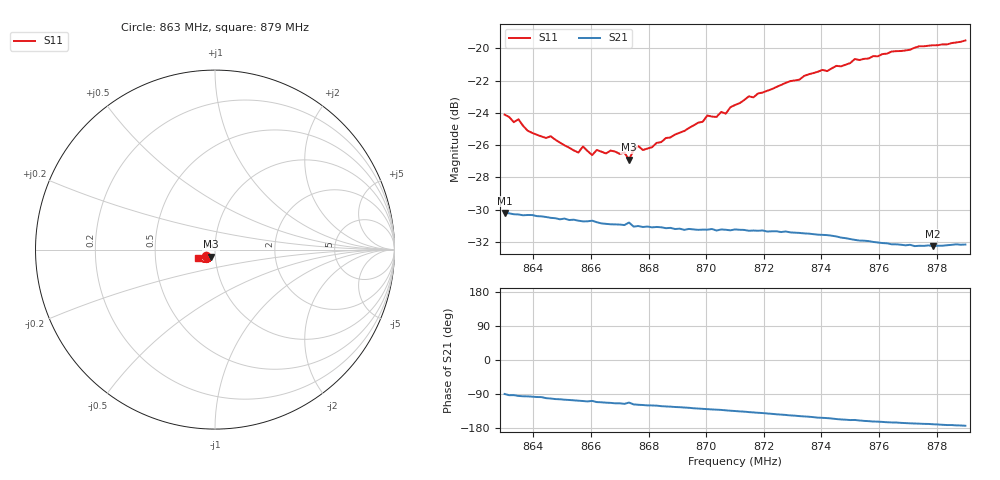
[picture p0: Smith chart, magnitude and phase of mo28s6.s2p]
# HZ S RI R 50
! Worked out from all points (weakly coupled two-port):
!   101 points, 863 MHz to 879 MHz, reference 50 ohm
!   highest |S21| = -30.21 dB at 863 MHz (marker M1); lowest = -32.3 dB at 877.88 MHz (marker M2)
!   lowest |S11| = -26.9 dB at 867.32 MHz (marker M3), VSWR 1.09, Z = 47.7 - j3.73 ohm
!   |S11| at or under -10 dB: start of sweep to end of sweep
!   S12 and S22 are empty: the file has one direction only
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8.63e8  -0.051 -0.0357  0.000184 -0.0309  0 0  0 0
8.6332e8  -0.0485 -0.0335  -0.00143 -0.0305  0 0  0 0
8.6348e8  -0.0507 -0.0325  -0.00258 -0.0304  0 0  0 0
8.638e8  -0.045 -0.0325  -0.00316 -0.0302  0 0  0 0
8.646e8  -0.0417 -0.0332  -0.00604 -0.0292  0 0  0 0
8.6556e8  -0.0339 -0.0333  -0.00871 -0.0279  0 0  0 0
8.6572e8  -0.0343 -0.0358  -0.0091 -0.0276  0 0  0 0
8.6604e8  -0.0305 -0.0353  -0.009 -0.0278  0 0  0 0
8.662e8  -0.0327 -0.0357  -0.0104 -0.027  0 0  0 0
8.6668e8  -0.0304 -0.0373  -0.0112 -0.0262  0 0  0 0
8.6716e8  -0.0272 -0.0389  -0.0123 -0.0255  0 0  0 0
8.6732e8  -0.0225 -0.0391  -0.011 -0.0267  0 0  0 0
8.6764e8  -0.027 -0.0418  -0.0133 -0.0248  0 0  0 0
8.678e8  -0.0261 -0.0407  -0.0134 -0.0245  0 0  0 0
8.6844e8  -0.0237 -0.0454  -0.0147 -0.0237  0 0  0 0
8.7004e8  -0.0252 -0.0565  -0.0175 -0.0211  0 0  0 0
8.7068e8  -0.0254 -0.0573  -0.0186 -0.0201  0 0  0 0
8.71e8  -0.0273 -0.0608  -0.0193 -0.0195  0 0  0 0
8.7372e8  -0.0456 -0.0703  -0.0231 -0.013  0 0  0 0
8.7644e8  -0.0737 -0.0641  -0.0238 -0.00648  0 0  0 0
8.7788e8  -0.0862 -0.0548  -0.0239 -0.00439  0 0  0 0
8.79e8  -0.0951 -0.0462  -0.0245 -0.00277  0 0  0 0
